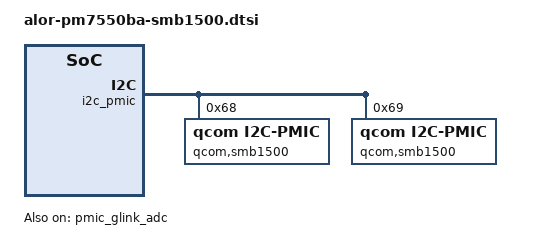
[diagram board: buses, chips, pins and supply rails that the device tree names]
// SPDX-License-Identifier: BSD-3-Clause
/*
 * Copyright (c) Qualcomm Technologies, Inc. and/or its subsidiaries.
 */

#include "alor-pm7550ba-pmd802x.dtsi"

&pmic_glink_debug {
	i2c_pmic:i2c@105 {
		reg = <0x105>;  /* I2C instance 5 in ADSP for SE4 */
		#address-cells = <1>;
		#size-cells = <0>;
		qcom,bus-type = "i2c";

		qcom,smb1500@68 {
			compatible = "qcom,i2c-pmic";
			reg = <0x68>;
			qcom,can-sleep;
		};

		qcom,smb1500@69 {
			compatible = "qcom,i2c-pmic";
			reg = <0x69>;
			qcom,can-sleep;
		};
	};
};

&pmic_glink_adc {
	status = "ok";

	smb1500_1_iin {
		reg = <0x1056801>;
		label = "smb1500_1_iin";
	};

	smb1500_1_ichg {
		reg = <0x1056802>;
		label = "smb1500_1_ichg";
	};

	smb1500_1_die_temp {
		reg = <0x1056803>;
		label = "smb1500_1_die_temp";
	};

	smb1500_2_iin {
		reg = <0x1056901>;
		label = "smb1500_2_iin";
	};

	smb1500_2_ichg {
		reg = <0x1056902>;
		label = "smb1500_2_ichg";
	};

	smb1500_2_die_temp {
		reg = <0x1056903>;
		label = "smb1500_2_die_temp";
	};
};
